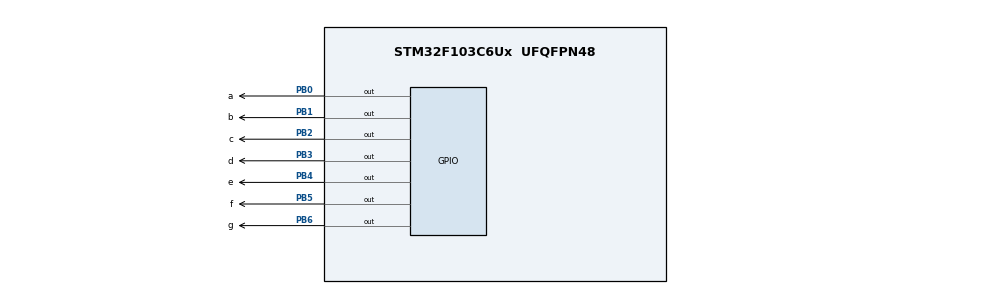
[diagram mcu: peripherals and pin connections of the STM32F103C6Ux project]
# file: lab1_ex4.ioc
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Mcu.Family=STM32F1
Mcu.Name=STM32F103C6Ux
Mcu.Package=UFQFPN48
NVIC.PriorityGroup=NVIC_PRIORITYGROUP_4
PB0.GPIO_Label=a
PB0.Signal=GPIO_Output
PB1.GPIO_Label=b
PB1.Signal=GPIO_Output
PB2.GPIO_Label=c
PB2.Signal=GPIO_Output
PB3.GPIO_Label=d
PB3.Signal=GPIO_Output
PB4.GPIO_Label=e
PB4.Signal=GPIO_Output
PB5.GPIO_Label=f
PB5.Signal=GPIO_Output
PB6.GPIO_Label=g
PB6.Signal=GPIO_Output
ProjectManager.HeapSize=0x200
ProjectManager.StackSize=0x400
ProjectManager.TargetToolchain=STM32CubeIDE
RCC.APB1Freq_Value=8000000
RCC.APB2Freq_Value=8000000
VP_SYS_VS_ND.Mode=No_Debug
board=custom

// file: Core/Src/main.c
/* USER CODE BEGIN Header */
/**
  ******************************************************************************
  * @file           : main.c
  * @brief          : Main program body
  ******************************************************************************
  * @attention
  *
  * <h2><center>&copy; Copyright (c) 2025 STMicroelectronics.
  * All rights reserved.</center></h2>
  *
  * This software component is licensed by ST under BSD 3-Clause license,
  * the "License"; You may not use this file except in compliance with the
  * License. You may obtain a copy of the License at:
  *                        opensource.org/licenses/BSD-3-Clause
  *
  ******************************************************************************
  */
/* USER CODE END Header */
#include "main.h"

void SystemClock_Config(void);
static void MX_GPIO_Init(void);

int main(void)
{

  /* MCU Configuration--------------------------------------------------------*/

  /* Reset of all peripherals, Initializes the Flash interface and the Systick. */
  HAL_Init();

  /* Configure the system clock */
  SystemClock_Config();

  /* Initialize all configured peripherals */
  MX_GPIO_Init();

  /* Infinite loop */
  /* USER CODE BEGIN WHILE */
  int counter = 0;
  while (1)
  {
      if(counter >= 10) counter = 0;
      display7SEG(counter++);
      HAL_Delay(1000); // 1 giây đổi số
  }
  /* USER CODE END 3 */
}

void SystemClock_Config(void)
{
  RCC_OscInitTypeDef RCC_OscInitStruct = {0};
  RCC_ClkInitTypeDef RCC_ClkInitStruct = {0};

  /** Initializes the RCC Oscillators according to the specified parameters
  * in the RCC_OscInitTypeDef structure.
  */
  RCC_OscInitStruct.OscillatorType = RCC_OSCILLATORTYPE_HSI;
  RCC_OscInitStruct.HSIState = RCC_HSI_ON;
  RCC_OscInitStruct.HSICalibrationValue = RCC_HSICALIBRATION_DEFAULT;
  RCC_OscInitStruct.PLL.PLLState = RCC_PLL_NONE;
  if (HAL_RCC_OscConfig(&RCC_OscInitStruct) != HAL_OK)
  {
    Error_Handler();
  }
  /** Initializes the CPU, AHB and APB buses clocks
  */
  RCC_ClkInitStruct.ClockType = RCC_CLOCKTYPE_HCLK|RCC_CLOCKTYPE_SYSCLK
                              |RCC_CLOCKTYPE_PCLK1|RCC_CLOCKTYPE_PCLK2;
  RCC_ClkInitStruct.SYSCLKSource = RCC_SYSCLKSOURCE_HSI;
  RCC_ClkInitStruct.AHBCLKDivider = RCC_SYSCLK_DIV1;
  RCC_ClkInitStruct.APB1CLKDivider = RCC_HCLK_DIV1;
  RCC_ClkInitStruct.APB2CLKDivider = RCC_HCLK_DIV1;

  if (HAL_RCC_ClockConfig(&RCC_ClkInitStruct, FLASH_LATENCY_0) != HAL_OK)
  {
    Error_Handler();
  }
}

static void MX_GPIO_Init(void)
{
  GPIO_InitTypeDef GPIO_InitStruct = {0};

  /* GPIO Ports Clock Enable */
  __HAL_RCC_GPIOB_CLK_ENABLE();

  /*Configure GPIO pin Output Level */
  HAL_GPIO_WritePin(GPIOB, a_Pin|b_Pin|c_Pin|d_Pin
                          |e_Pin|f_Pin|g_Pin, GPIO_PIN_RESET);

  /*Configure GPIO pins : a_Pin b_Pin c_Pin d_Pin
                           e_Pin f_Pin g_Pin */
  GPIO_InitStruct.Pin = a_Pin|b_Pin|c_Pin|d_Pin
                          |e_Pin|f_Pin|g_Pin;
  GPIO_InitStruct.Mode = GPIO_MODE_OUTPUT_PP;
  GPIO_InitStruct.Pull = GPIO_NOPULL;
  GPIO_InitStruct.Speed = GPIO_SPEED_FREQ_LOW;
  HAL_GPIO_Init(GPIOB, &GPIO_InitStruct);

}

/* USER CODE BEGIN 4 */
void display7SEG(int num)
{
    // Bảng mã cho các số 0-9 (0 = bật, 1 = tắt)
    // Thứ tự: a,b,c,d,e,f,g
    const uint8_t seg_code[10][7] = {
        {0,0,0,0,0,0,1}, // 0
        {1,0,0,1,1,1,1}, // 1
        {0,0,1,0,0,1,0}, // 2
        {0,0,0,0,1,1,0}, // 3
        {1,0,0,1,1,0,0}, // 4
        {0,1,0,0,1,0,0}, // 5
        {0,1,0,0,0,0,0}, // 6
        {0,0,0,1,1,1,1}, // 7
        {0,0,0,0,0,0,0}, // 8
        {0,0,0,0,1,0,0}  // 9
    };

    if(num < 0 || num > 9) return; // bảo vệ

    HAL_GPIO_WritePin(GPIOB, a_Pin, seg_code[num][0] ? GPIO_PIN_SET : GPIO_PIN_RESET);
    HAL_GPIO_WritePin(GPIOB, b_Pin, seg_code[num][1] ? GPIO_PIN_SET : GPIO_PIN_RESET);
    HAL_GPIO_WritePin(GPIOB, c_Pin, seg_code[num][2] ? GPIO_PIN_SET : GPIO_PIN_RESET);
    HAL_GPIO_WritePin(GPIOB, d_Pin, seg_code[num][3] ? GPIO_PIN_SET : GPIO_PIN_RESET);
    HAL_GPIO_WritePin(GPIOB, e_Pin, seg_code[num][4] ? GPIO_PIN_SET : GPIO_PIN_RESET);
    HAL_GPIO_WritePin(GPIOB, f_Pin, seg_code[num][5] ? GPIO_PIN_SET : GPIO_PIN_RESET);
    HAL_GPIO_WritePin(GPIOB, g_Pin, seg_code[num][6] ? GPIO_PIN_SET : GPIO_PIN_RESET);
}
/* USER CODE END 4 */

void Error_Handler(void)
{
  __disable_irq();
  while (1)
  {
  }
}

/************************ (C) COPYRIGHT STMicroelectronics *****END OF FILE****/
